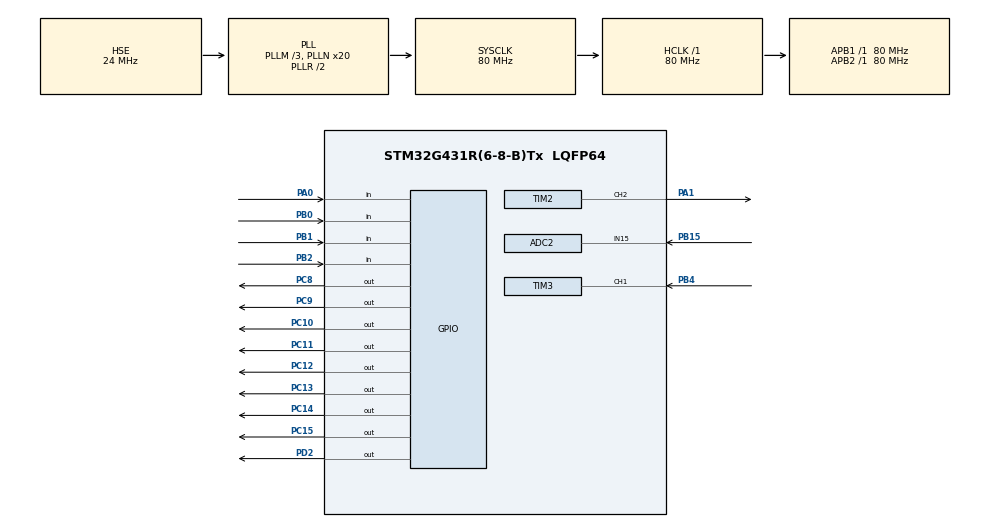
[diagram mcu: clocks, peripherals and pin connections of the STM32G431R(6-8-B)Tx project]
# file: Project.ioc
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ADC2.Channel-0\#ChannelRegularConversion=ADC_CHANNEL_15
ADC2.NbrOfConversionFlag=1
ADC2.OffsetNumber-0\#ChannelRegularConversion=ADC_OFFSET_NONE
ADC2.Rank-0\#ChannelRegularConversion=1
ADC2.SamplingTime-0\#ChannelRegularConversion=ADC_SAMPLETIME_2CYCLES_5
FREERTOS.INCLUDE_pcTaskGetTaskName=1
FREERTOS.INCLUDE_uxTaskGetStackHighWaterMark2=1
FREERTOS.INCLUDE_vTaskCleanUpResources=1
FREERTOS.INCLUDE_xEventGroupSetBitFromISR=1
FREERTOS.INCLUDE_xSemaphoreGetMutexHolder=1
FREERTOS.INCLUDE_xTaskAbortDelay=1
FREERTOS.INCLUDE_xTaskGetHandle=1
FREERTOS.Tasks01=defaultTask,24,128,StartDefaultTask,Default,NULL,Dynamic,NULL,NULL
FREERTOS.configTOTAL_HEAP_SIZE=10240
Mcu.Family=STM32G4
Mcu.Name=STM32G431R(6-8-B)Tx
Mcu.Package=LQFP64
NVIC.PriorityGroup=NVIC_PRIORITYGROUP_4
NVIC.TIM3_IRQn=true\:5\:0\:false\:false\:true\:true\:true\:true\:true
NVIC.TIM6_DAC_IRQn=true\:5\:0\:false\:false\:true\:true\:true\:true\:true
NVIC.TIM7_IRQn=true\:5\:0\:false\:false\:true\:true\:true\:true\:true
PA0.Signal=GPIO_Input
PA1.Signal=S_TIM2_CH2
PA13.Mode=Serial_Wire
PA13.Signal=SYS_JTMS-SWDIO
PA14.Mode=Serial_Wire
PA14.Signal=SYS_JTCK-SWCLK
PB0.Signal=GPIO_Input
PB1.Signal=GPIO_Input
PB15.Mode=IN15-Single-Ended
PB15.Signal=ADC2_IN15
PB2.Signal=GPIO_Input
PB4.Signal=S_TIM3_CH1
PC10.GPIO_ModeDefaultOutputPP=GPIO_MODE_OUTPUT_PP
PC10.GPIO_PuPd=GPIO_NOPULL
PC10.PinState=GPIO_PIN_SET
PC10.Signal=GPIO_Output
PC11.GPIO_ModeDefaultOutputPP=GPIO_MODE_OUTPUT_PP
PC11.GPIO_PuPd=GPIO_NOPULL
PC11.PinState=GPIO_PIN_SET
PC11.Signal=GPIO_Output
PC12.GPIO_ModeDefaultOutputPP=GPIO_MODE_OUTPUT_PP
PC12.GPIO_PuPd=GPIO_NOPULL
PC12.PinState=GPIO_PIN_SET
PC12.Signal=GPIO_Output
PC13.GPIO_ModeDefaultOutputPP=GPIO_MODE_OUTPUT_PP
PC13.GPIO_PuPd=GPIO_NOPULL
PC13.PinState=GPIO_PIN_SET
PC13.Signal=GPIO_Output
PC14-OSC32_IN.GPIO_ModeDefaultOutputPP=GPIO_MODE_OUTPUT_PP
PC14-OSC32_IN.GPIO_PuPd=GPIO_NOPULL
PC14-OSC32_IN.PinState=GPIO_PIN_SET
PC14-OSC32_IN.Signal=GPIO_Output
PC15-OSC32_OUT.GPIO_ModeDefaultOutputPP=GPIO_MODE_OUTPUT_PP
PC15-OSC32_OUT.GPIO_PuPd=GPIO_NOPULL
PC15-OSC32_OUT.PinState=GPIO_PIN_SET
PC15-OSC32_OUT.Signal=GPIO_Output
PC8.GPIO_ModeDefaultOutputPP=GPIO_MODE_OUTPUT_PP
PC8.GPIO_PuPd=GPIO_NOPULL
PC8.PinState=GPIO_PIN_SET
PC8.Signal=GPIO_Output
PC9.GPIO_ModeDefaultOutputPP=GPIO_MODE_OUTPUT_PP
PC9.GPIO_PuPd=GPIO_NOPULL
PC9.PinState=GPIO_PIN_SET
PC9.Signal=GPIO_Output
PD2.Signal=GPIO_Output
PF0-OSC_IN.Mode=HSE-External-Oscillator
PF0-OSC_IN.Signal=RCC_OSC_IN
PF1-OSC_OUT.Mode=HSE-External-Oscillator
PF1-OSC_OUT.Signal=RCC_OSC_OUT
ProjectManager.HeapSize=0x200
ProjectManager.StackSize=0x400
ProjectManager.TargetToolchain=MDK-ARM V5.32
RCC.ADC12Freq_Value=80000000
RCC.AHBFreq_Value=80000000
RCC.APB1Freq_Value=80000000
RCC.APB1TimFreq_Value=80000000
RCC.APB2Freq_Value=80000000
RCC.APB2TimFreq_Value=80000000
RCC.CortexFreq_Value=80000000
RCC.EXTERNAL_CLOCK_VALUE=12288000
RCC.HCLKFreq_Value=80000000
RCC.HSE_VALUE=24000000
RCC.HSI48_VALUE=48000000
RCC.HSI_VALUE=16000000
RCC.LSE_VALUE=32768
RCC.PLLM=RCC_PLLM_DIV3
RCC.PLLN=20
RCC.PLLSourceVirtual=RCC_PLLSOURCE_HSE
RCC.SYSCLKFreq_VALUE=80000000
RCC.SYSCLKSource=RCC_SYSCLKSOURCE_PLLCLK
RCC.USBFreq_Value=80000000
RCC.VCOOutputFreq_Value=160000000
SH.S_TIM2_CH2.0=TIM2_CH2,PWM Generation2 CH2
SH.S_TIM3_CH1.0=TIM3_CH1,Input_Capture1_from_TI1
TIM1.Prescaler=8000-1
TIM17.PeriodNoDither=65535
TIM17.Prescaler=8000-1
TIM2.Channel-PWM\ Generation2\ CH2=TIM_CHANNEL_2
TIM2.PeriodNoDither=100-1
TIM2.Prescaler=80-1
TIM2.PulseNoDither_2=5
TIM3.Channel-Input_Capture1_from_TI1=TIM_CHANNEL_1
TIM3.Prescaler=80-1
TIM4.Prescaler=8000-1
TIM6.PeriodNoDither=10000-1
TIM6.Prescaler=800-1
TIM7.PeriodNoDither=10000-1
TIM7.Prescaler=8000-1
VP_FREERTOS_VS_CMSIS_V2.Mode=CMSIS_V2
VP_SYS_VS_DBSignals.Mode=DisableDeadBatterySignals
VP_TIM17_VS_ClockSourceINT.Mode=Enable_Timer
VP_TIM1_VS_ClockSourceINT.Mode=Internal
VP_TIM2_VS_ClockSourceINT.Mode=Internal
VP_TIM3_VS_ClockSourceINT.Mode=Internal
VP_TIM4_VS_ClockSourceINT.Mode=Internal
VP_TIM6_VS_ClockSourceINT.Mode=Enable_Timer
VP_TIM7_VS_ClockSourceINT.Mode=Enable_Timer
board=custom

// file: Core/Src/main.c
/* USER CODE BEGIN Header */
/**
  ******************************************************************************
  * @file           : main.c
  * @brief          : FreeRTOS 多任务主程序
  *
  * @note           基于第17届蓝桥杯嵌入式省赛真题改造
  *                  原裸机 while(1) 超级循环 + 定时器中断，
  *                  重构为 6 个 FreeRTOS 任务 + 互斥量 + 二值信号量架构。
  ******************************************************************************
  */
/* USER CODE END Header */
#include "main.h"
#include "cmsis_os.h"
#include "adc.h"
#include "tim.h"
#include "gpio.h"

/* USER CODE BEGIN Includes */
#include "headfile.h"
#include "freertos_app.h"
#include "FreeRTOS.h"
#include "task.h"
/* USER CODE END Includes */

void SystemClock_Config(void);
void MX_FREERTOS_Init(void);

int main(void)
{

  /* MCU Configuration--------------------------------------------------------*/

  /* Reset of all peripherals, Initializes the Flash interface and the Systick. */
  HAL_Init();

  /* Configure the system clock */
  SystemClock_Config();

  /* Initialize all configured peripherals */
  MX_GPIO_Init();
  MX_ADC2_Init();
  MX_TIM3_Init();
  MX_TIM2_Init();
  MX_TIM6_Init();
  MX_TIM7_Init();
  MX_TIM4_Init();
  MX_TIM1_Init();
  MX_TIM17_Init();
  /* USER CODE BEGIN 2 */
  /*==================== 外设启动（FreeRTOS调度器启动前完成）====================*/
  HAL_ADCEx_Calibration_Start(&hadc2, 15);

  /* 启动自由运行定时器（LED延时、按键长按计时） */
  HAL_TIM_Base_Start(&htim1);
  HAL_TIM_Base_Start(&htim4);
  HAL_TIM_Base_Start(&htim17);

  /* 启动 PWM 输出（不带中断，调度器启动后由任务开启中断） */
  HAL_TIM_PWM_Start(&htim2, TIM_CHANNEL_2);

  /* 注意：带中断的定时器（TIM3/TIM6/TIM7）必须在 osKernelStart() 之后开启
   * 否则中断回调里的 xSemaphoreGiveFromISR 会在调度器未启动时调用，导致 hard fault
   * 这里仅设置 NVIC 优先级，不使能中断
   */
  HAL_NVIC_SetPriority(TIM3_IRQn, 5, 0);
  HAL_NVIC_SetPriority(TIM6_DAC_IRQn, 5, 0);
  HAL_NVIC_SetPriority(TIM7_IRQn, 5, 0);
  HAL_NVIC_DisableIRQ(TIM3_IRQn);
  HAL_NVIC_DisableIRQ(TIM6_DAC_IRQn);
  HAL_NVIC_DisableIRQ(TIM7_IRQn);

  /*==================== LCD 初始化 ====================*/
  led_show(1, 0);
  LCD_Init();
  LCD_Clear(Black);
  LCD_SetBackColor(Black);
  LCD_SetTextColor(White);
  /* USER CODE END 2 */

  /* Init scheduler */
  osKernelInitialize();

  /* Call init function for freertos objects (in cmsis_os2.c) */
  MX_FREERTOS_Init();

  /* Start scheduler */
  osKernelStart();

  /* We should never get here as control is now taken by the scheduler */

  /* Infinite loop */
  while (1)
  {

  }
}

void SystemClock_Config(void)
{
  RCC_OscInitTypeDef RCC_OscInitStruct = {0};
  RCC_ClkInitTypeDef RCC_ClkInitStruct = {0};

  /** Configure the main internal regulator output voltage
  */
  HAL_PWREx_ControlVoltageScaling(PWR_REGULATOR_VOLTAGE_SCALE1);

  /** Initializes the RCC Oscillators according to the specified parameters
  * in the RCC_OscInitTypeDef structure.
  */
  RCC_OscInitStruct.OscillatorType = RCC_OSCILLATORTYPE_HSE;
  RCC_OscInitStruct.HSEState = RCC_HSE_ON;
  RCC_OscInitStruct.PLL.PLLState = RCC_PLL_ON;
  RCC_OscInitStruct.PLL.PLLSource = RCC_PLLSOURCE_HSE;
  RCC_OscInitStruct.PLL.PLLM = RCC_PLLM_DIV3;
  RCC_OscInitStruct.PLL.PLLN = 20;
  RCC_OscInitStruct.PLL.PLLP = RCC_PLLP_DIV2;
  RCC_OscInitStruct.PLL.PLLQ = RCC_PLLQ_DIV2;
  RCC_OscInitStruct.PLL.PLLR = RCC_PLLR_DIV2;
  if (HAL_RCC_OscConfig(&RCC_OscInitStruct) != HAL_OK)
  {
    Error_Handler();
  }

  /** Initializes the CPU, AHB and APB buses clocks
  */
  RCC_ClkInitStruct.ClockType = RCC_CLOCKTYPE_HCLK|RCC_CLOCKTYPE_SYSCLK
                              |RCC_CLOCKTYPE_PCLK1|RCC_CLOCKTYPE_PCLK2;
  RCC_ClkInitStruct.SYSCLKSource = RCC_SYSCLKSOURCE_PLLCLK;
  RCC_ClkInitStruct.AHBCLKDivider = RCC_SYSCLK_DIV1;
  RCC_ClkInitStruct.APB1CLKDivider = RCC_HCLK_DIV1;
  RCC_ClkInitStruct.APB2CLKDivider = RCC_HCLK_DIV1;

  if (HAL_RCC_ClockConfig(&RCC_ClkInitStruct, FLASH_LATENCY_2) != HAL_OK)
  {
    Error_Handler();
  }
}

void Error_Handler(void)
{
  __disable_irq();
  while (1)
  {
  }
}

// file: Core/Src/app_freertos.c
/* USER CODE BEGIN Header */
/**
  ******************************************************************************
  * File Name          : app_freertos.c
  * Description        : Code for freertos applications
  ******************************************************************************
  * @attention
  *
  * Copyright (c) 2026 STMicroelectronics.
  * All rights reserved.
  *
  * This software is licensed under terms that can be found in the LICENSE file
  * in the root directory of this software component.
  * If no LICENSE file comes with this software, it is provided AS-IS.
  *
  ******************************************************************************
  */
/* USER CODE END Header */

#include "FreeRTOS.h"
#include "task.h"
#include "main.h"
#include "cmsis_os.h"

/* USER CODE BEGIN Includes */
#include "freertos_app.h"
/* USER CODE END Includes */

/* Definitions for defaultTask */
osThreadId_t defaultTaskHandle;
const osThreadAttr_t defaultTask_attributes = {
  .name = "defaultTask",
  .priority = (osPriority_t) osPriorityNormal,
  .stack_size = 128 * 4
};

void StartDefaultTask(void *argument);

void MX_FREERTOS_Init(void); /* (MISRA C 2004 rule 8.1) */

void MX_FREERTOS_Init(void) {

  /* Create the thread(s) */
  /* creation of defaultTask */
  defaultTaskHandle = osThreadNew(StartDefaultTask, NULL, &defaultTask_attributes);

  /* USER CODE BEGIN RTOS_THREADS */
  /* 调用用户自定义的任务、互斥量、信号量创建函数（在 BSP/freertos_app.c 中实现） */
  FreeRTOS_App_Init();
  /* USER CODE END RTOS_THREADS */

}

void StartDefaultTask(void *argument)
{
  for(;;)
  {
    osDelay(1);
  }
}
